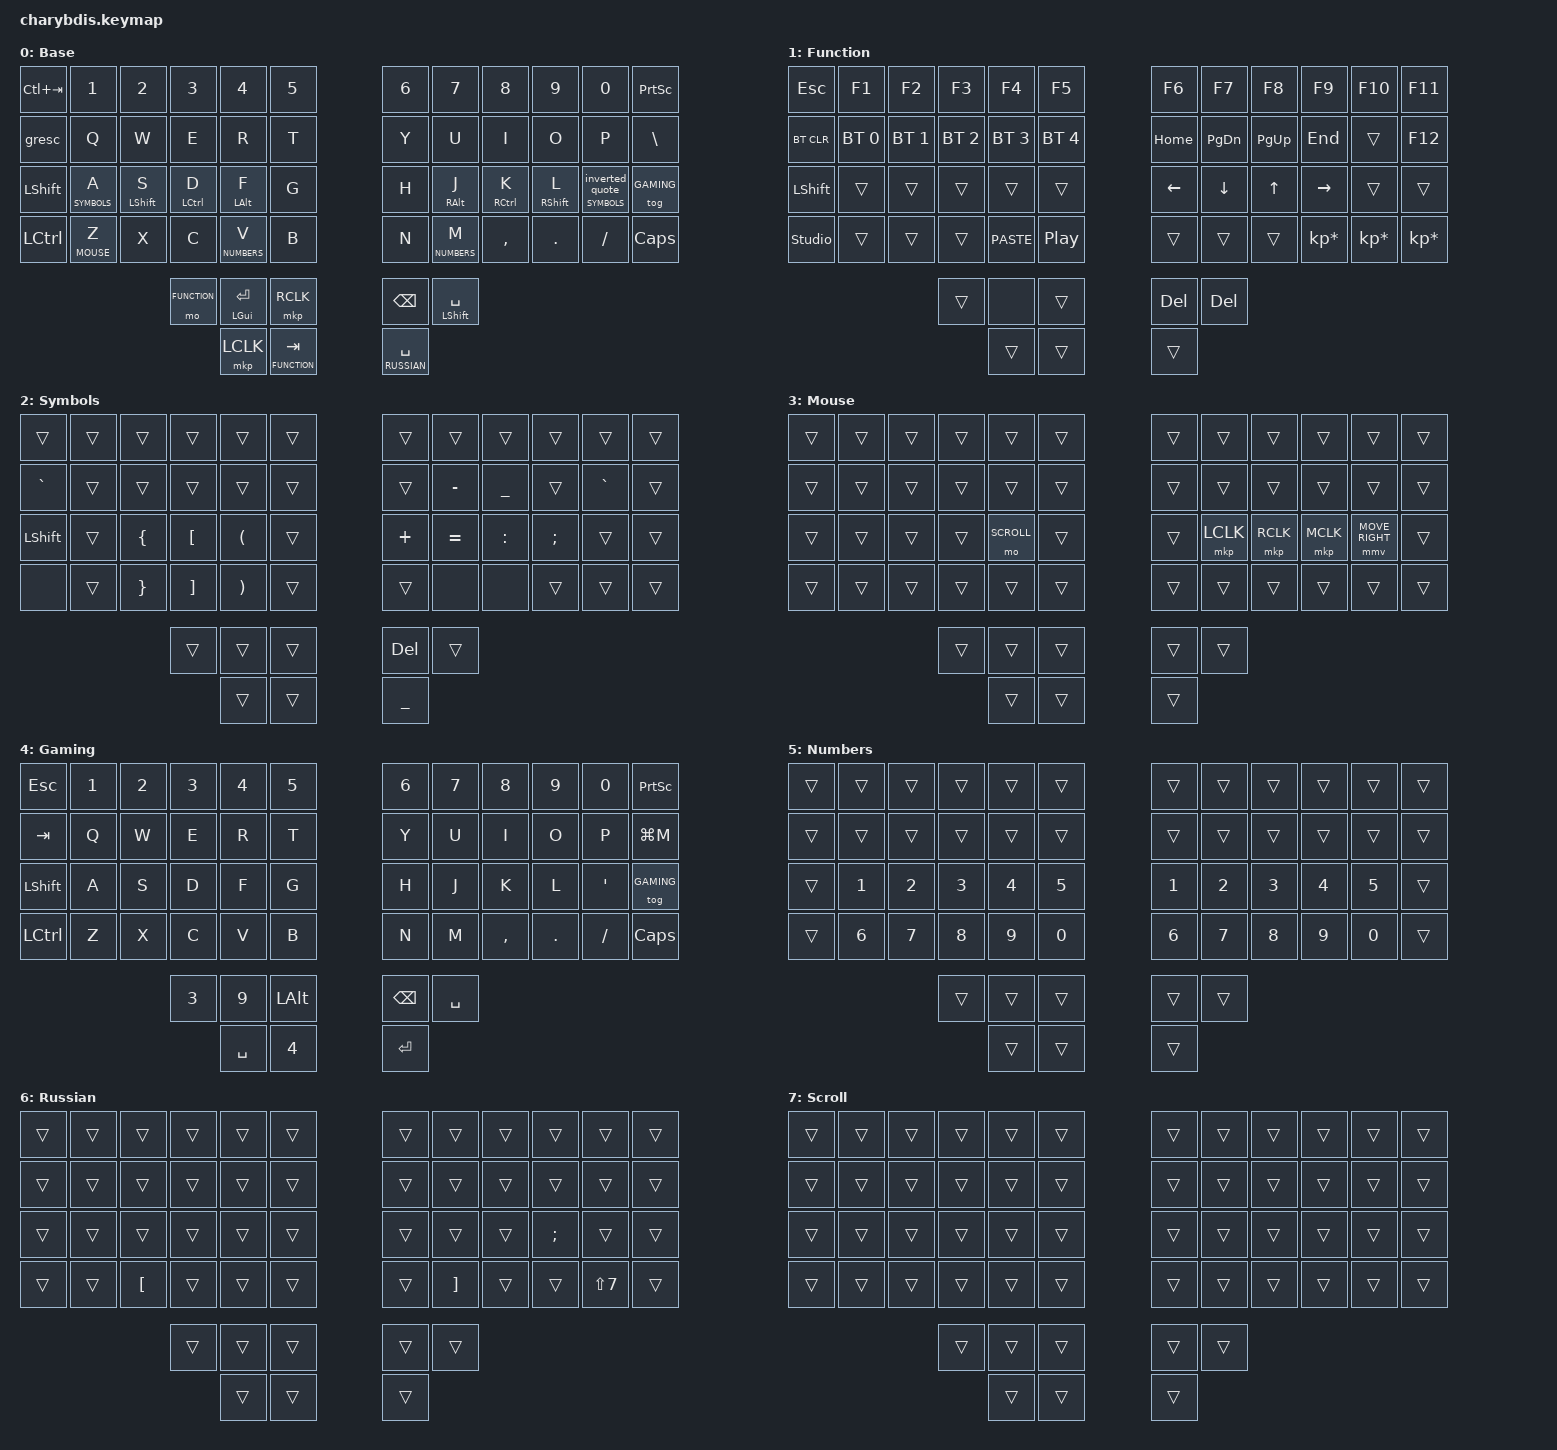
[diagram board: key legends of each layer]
#define ZMK_POINTING_DEFAULT_MOVE_VAL 3500

#include <dt-bindings/zmk/mouse.h>
#include <behaviors.dtsi>
#include <dt-bindings/zmk/bt.h>
#include <dt-bindings/zmk/keys.h>
#include <dt-bindings/zmk/pointing.h>

#define BASE 0
#define FUNCTION 1
#define SYMBOLS 2
#define MOUSE 3
#define GAMING 4
#define NUMBERS 5
#define RUSSIAN 6
#define SCROLL 7

&lt {
    tapping-term-ms = <150>;
    flavor = "balanced";
    quick-tap-ms = <0>;
};

&mt {
    tapping-term-ms = <150>;
    flavor = "balanced";
    quick-tap-ms = <0>;
};

&gresc {
    keep-mods = <(MOD_LGUI | MOD_LSFT | MOD_RGUI | MOD_RSFT)>;
};

&mmv {
    delay-ms = <0>;
    trigger-period-ms = <16>;
    time-to-max-speed-ms = <960>;
    acceleration-exponent = <1>;
};

/ {
    behaviors {
        inverted_quote: inverted_quote {
            compatible = "zmk,behavior-mod-morph";
            #binding-cells = <0>;
            bindings = <&kp DQT>, <&kp SQT>;
            mods = <(MOD_LSFT | MOD_RSFT)>;
        };

        quote_lt: quote_layer_tap {
            compatible = "zmk,behavior-hold-tap";
            #binding-cells = <2>;
            bindings = <&mo>, <&inverted_quote>;
            tapping-term-ms = <150>;
            quick-tap-ms = <0>;
            flavor = "balanced";
        };
    };

    keymap {
        compatible = "zmk,keymap";

        Base {
            display-name = "Base";
            bindings = <
&kp LC(TAB)  &kp N1          &kp N2          &kp N3        &kp N4          &kp N5               &kp N6          &kp N7             &kp N8             &kp N9          &kp N0             &kp PRINTSCREEN
&gresc       &kp Q           &kp W           &kp E         &kp R           &kp T                &kp Y           &kp U              &kp I              &kp O           &kp P              &kp BACKSLASH
&kp LSHIFT   &lt SYMBOLS A   &mt LSHIFT S    &mt LCTRL D   &mt LALT F      &kp G                &kp H           &mt RALT J          &mt RCTRL K         &mt RSHIFT L    &quote_lt SYMBOLS 0  &tog GAMING
&kp LCTRL    &lt MOUSE Z     &kp X           &kp C         &lt NUMBERS V   &kp B                &kp N           &lt NUMBERS M       &kp COMMA          &kp DOT         &kp SLASH          &kp CAPSLOCK
                                                    &mo FUNCTION    &mt LGUI ENTER   &mkp RCLK         &kp BACKSPACE     &mt LSHIFT SPACE
                                                                    &mkp LCLK        &lt FUNCTION TAB &lt RUSSIAN SPACE
            >;
        };

        Function {
            display-name = "Function";
            bindings = <
&kp ESC     &kp F1         &kp F2         &kp F3         &kp F4         &kp F5             &kp F6     &kp F7     &kp F8    &kp F9          &kp F10          &kp F11
&bt BT_CLR  &bt BT_SEL 0   &bt BT_SEL 1   &bt BT_SEL 2   &bt BT_SEL 3   &bt BT_SEL 4       &kp HOME   &kp PG_DN  &kp PG_UP &kp END         &trans           &kp F12
&kp LSHIFT &trans    &trans    &trans    &trans         &trans             &kp LEFT   &kp DOWN   &kp UP    &kp RIGHT       &trans           &trans
&studio_unlock &trans    &trans    &trans    &kp K_PASTE    &kp C_PLAY_PAUSE  &trans     &trans     &trans    &kp KP_MULTIPLY &kp KP_MULTIPLY  &kp KP_MULTIPLY
                                      &trans    &none     &trans    &kp DELETE &kp DELETE
                                                &trans    &trans    &trans
            >;
        };

        Symbols {
            display-name = "Symbols";
            bindings = <
&trans      &trans    &trans        &trans      &trans            &trans    &trans    &trans       &trans     &trans    &trans     &trans
&kp GRAVE   &trans    &trans        &trans      &trans            &trans    &trans    &kp MINUS    &kp UNDER  &trans    &kp GRAVE  &trans
&kp LSHIFT  &trans    &kp LEFT_BRACE &kp LBKT   &kp LEFT_PARENTHESIS  &trans    &kp PLUS  &kp EQUAL    &kp COLON  &kp SEMI  &trans     &trans
&none       &trans    &kp RIGHT_BRACE &kp RBKT  &kp RIGHT_PARENTHESIS &trans    &trans    &none        &none      &trans    &trans     &trans
                                          &trans    &trans    &trans    &kp DELETE  &trans
                                                    &trans    &trans    &kp UNDER
            >;
        };

        Mouse {
            display-name = "Mouse";
            bindings = <
&trans  &trans  &trans  &trans  &trans  &trans    &trans  &trans           &trans           &trans         &trans          &trans
&trans  &trans  &trans  &trans  &trans  &trans    &trans  &trans           &trans           &trans         &trans          &trans
&trans  &trans  &trans  &trans  &mo SCROLL  &trans    &trans  &mkp LCLK        &mkp RCLK        &mkp MCLK      &mmv MOVE_RIGHT &trans
&trans  &trans  &trans  &trans  &trans  &trans    &trans  &trans           &trans           &trans         &trans          &trans
                              &trans  &trans  &trans  &trans  &trans
                                      &trans  &trans  &trans
            >;
        };

        Gaming {
            display-name = "Gaming";
            bindings = <
&kp ESC     &kp N1  &kp N2  &kp N3  &kp N4  &kp N5    &kp N6  &kp N7  &kp N8     &kp N9   &kp N0    &kp PRINTSCREEN
&kp TAB     &kp Q   &kp W   &kp E   &kp R   &kp T     &kp Y   &kp U   &kp I      &kp O    &kp P     &kp LG(M)
&kp LSHIFT  &kp A   &kp S   &kp D   &kp F   &kp G     &kp H   &kp J   &kp K      &kp L    &kp SQT   &tog GAMING
&kp LCTRL   &kp Z   &kp X   &kp C   &kp V   &kp B     &kp N   &kp M   &kp COMMA  &kp DOT  &kp SLASH &kp CAPSLOCK
                                  &kp N3     &kp N9     &kp LALT  &kp BACKSPACE  &kp SPACE
                                             &kp SPACE  &kp N4    &kp ENTER
            >;
        };

        Numbers {
            display-name = "Numbers";
            bindings = <
&trans  &trans  &trans  &trans  &trans  &trans    &trans  &trans  &trans  &trans  &trans  &trans
&trans  &trans  &trans  &trans  &trans  &trans    &trans  &trans  &trans  &trans  &trans  &trans
&trans  &kp N1  &kp N2  &kp N3  &kp N4  &kp N5    &kp N1  &kp N2  &kp N3  &kp N4  &kp N5  &trans
&trans  &kp N6  &kp N7  &kp N8  &kp N9  &kp N0    &kp N6  &kp N7  &kp N8  &kp N9  &kp N0  &trans
                              &trans  &trans  &trans  &trans  &trans
                                      &trans  &trans  &trans
            >;
        };

        Russian {
            display-name = "Russian";
            bindings = <
&trans  &trans    &trans    &trans  &trans  &trans    &trans  &trans    &trans  &trans    &trans  &trans
&trans  &trans    &trans    &trans  &trans  &trans    &trans  &trans    &trans  &trans    &trans  &trans
&trans  &trans    &trans    &trans  &trans  &trans    &trans  &trans    &trans  &kp SEMI  &trans  &trans
&trans  &trans    &kp LBKT  &trans  &trans  &trans    &trans  &kp RBKT  &trans  &trans    &kp LS(N7)  &trans
                                &trans  &trans  &trans  &trans  &trans
                                        &trans  &trans  &trans
            >;
        };

        Scroll {
            display-name = "Scroll";
            bindings = <
&trans  &trans  &trans  &trans  &trans  &trans    &trans  &trans  &trans  &trans  &trans  &trans
&trans  &trans  &trans  &trans  &trans  &trans    &trans  &trans  &trans  &trans  &trans  &trans
&trans  &trans  &trans  &trans  &trans  &trans    &trans  &trans  &trans  &trans  &trans  &trans
&trans  &trans  &trans  &trans  &trans  &trans    &trans  &trans  &trans  &trans  &trans  &trans
                              &trans  &trans  &trans  &trans  &trans
                                      &trans  &trans  &trans
            >;
        };
    };
};
